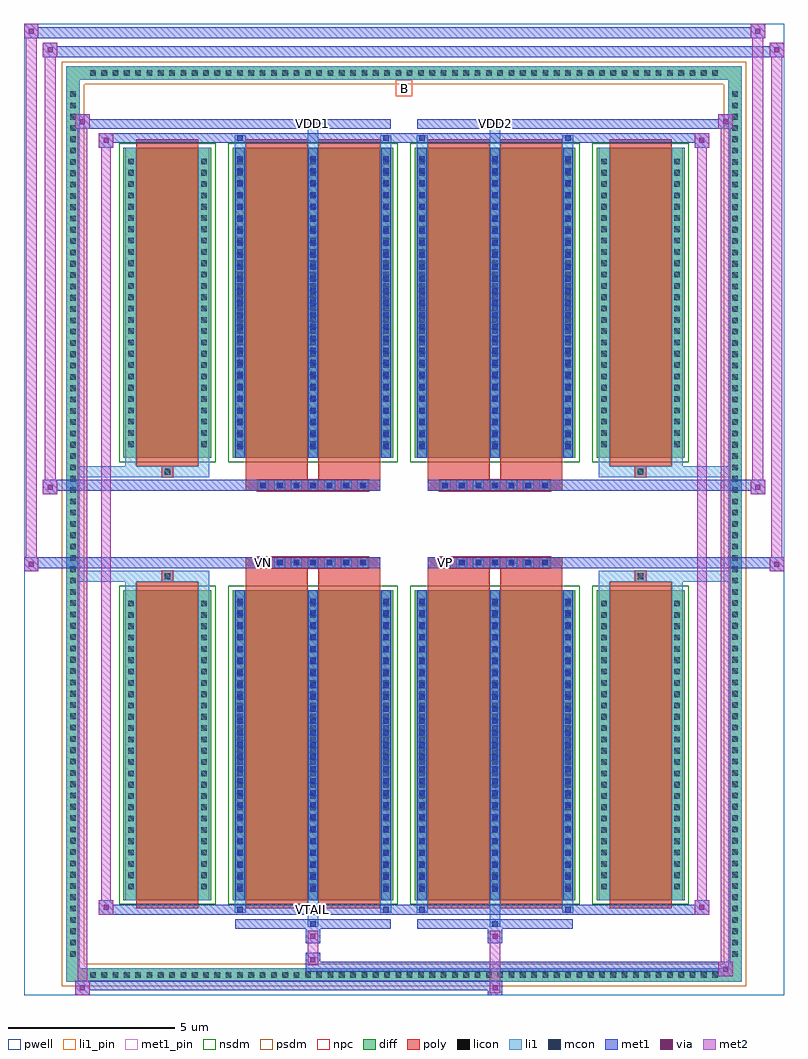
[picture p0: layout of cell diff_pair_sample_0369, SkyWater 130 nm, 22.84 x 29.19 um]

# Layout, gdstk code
import gdstk
lib = gdstk.Library(unit=1e-6, precision=5e-09)
def R(c, l, rs):  # rectangles x0, y0, x1, y1
    for r in rs: c.add(gdstk.rectangle(r[:2], r[2:], *l))
def A(c, l, x, y, w, h, nx, ny, dx, dy):  # array of equal rectangles
    R(c, l, [(x+i*dx, y+j*dy, x+i*dx+w, y+j*dy+h) for i in range(nx) for j in range(ny)])
def P(c, l, *ps):  # polygons
    for p in ps: c.add(gdstk.Polygon(p, *l))
pwell = (64, 44)
diff = (65, 20)
poly = (66, 20)
licon = (66, 44)
li1_pin = (67, 16)
li1 = (67, 20)
mcon = (67, 44)
met1_pin = (68, 16)
met1 = (68, 20)
via = (68, 44)
met2 = (69, 20)
nsdm = (93, 44)
psdm = (94, 20)
npc = (95, 20)

diff_pair_sample_0369 = lib.new_cell('diff_pair_sample_0369')
R(diff_pair_sample_0369, pwell, [(-11.42,-14.16,11.42,15.03), (-8.74,-12.35,-0.01,-0.795), (0.01,-12.35,8.74,-0.795), (-8.74,0.795,-0.01,12.35), (0.01,0.795,8.74,12.35)])
A(diff_pair_sample_0369, diff, -9.555, -13.76, 0.41, 0.41, 56, 2, 0.34, 27.11)
A(diff_pair_sample_0369, diff, -10.15, -13.125, 0.41, 0.41, 1, 77, 0, 0.34)
A(diff_pair_sample_0369, diff, 9.74, -13.125, 0.41, 0.41, 1, 77, 0, 0.34)
R(diff_pair_sample_0369, diff, [(-9.555,-13.76,9.555,-13.35), (-10.15,-13.125,-9.74,13.125), (9.74,-13.125,10.15,13.125), (-8.43,-11.305,-5.79,-1.985), (-5.15,-11.305,-0.32,-1.985), (0.32,-11.305,5.15,-1.985), (5.79,-11.305,8.43,-1.985), (-8.43,1.985,-5.79,11.305), (-5.15,1.985,-0.32,11.305), (0.32,1.985,5.15,11.305), (5.79,1.985,8.43,11.305), (-9.555,13.35,9.555,13.76)])
P(diff_pair_sample_0369, diff, [(10.15,13.76),(-10.15,13.76),(-10.15,-13.35),(-9.74,-13.35),(-9.74,13.35),(9.74,13.35),(9.74,-13.35),(-9.74,-13.35),(-10.15,-13.35),(-10.15,-13.76),(10.15,-13.76)])
A(diff_pair_sample_0369, poly, -4.4, -1.325, 0.33, 0.33, 7, 2, 0.5, 2.32)
A(diff_pair_sample_0369, poly, 1.07, -1.325, 0.33, 0.33, 7, 2, 0.5, 2.32)
R(diff_pair_sample_0369, poly, [(-8.04,-11.555,-6.18,-1.735), (-4.76,-11.555,-2.9,-1.735), (-2.57,-11.555,-0.71,-1.735), (0.71,-11.555,2.57,-1.735), (2.9,-11.555,4.76,-1.735), (6.18,-11.555,8.04,-1.735), (-7.275,-1.735,-6.945,-1.405), (-7.275,-1.735,-6.945,-1.405), (-4.76,-1.735,-2.9,-1.325), (-2.57,-1.735,-0.71,-1.325), (0.71,-1.735,2.57,-1.325), (2.9,-1.735,4.76,-1.325), (6.945,-1.735,7.275,-1.405), (6.945,-1.735,7.275,-1.405), (-4.76,-1.325,-0.71,-0.995), (0.71,-1.325,4.76,-0.995), (-4.76,0.995,-0.71,1.325), (0.71,0.995,4.76,1.325), (-4.76,1.325,-2.9,1.735), (-2.57,1.325,-0.71,1.735), (0.71,1.325,2.57,1.735), (2.9,1.325,4.76,1.735), (-7.275,1.405,-6.945,1.735), (-7.275,1.405,-6.945,1.735), (6.945,1.405,7.275,1.735), (6.945,1.405,7.275,1.735), (-8.04,1.735,-6.18,11.555), (-4.76,1.735,-2.9,11.555), (-2.57,1.735,-0.71,11.555), (0.71,1.735,2.57,11.555), (2.9,1.735,4.76,11.555), (6.18,1.735,8.04,11.555)])
A(diff_pair_sample_0369, licon, -9.435, -13.64, 0.17, 0.17, 56, 2, 0.34, 27.11)
A(diff_pair_sample_0369, licon, -10.03, -13.005, 0.17, 0.17, 1, 77, 0, 0.34)
A(diff_pair_sample_0369, licon, 9.86, -13.005, 0.17, 0.17, 1, 77, 0, 0.34)
A(diff_pair_sample_0369, licon, -8.29, -10.98, 0.17, 0.17, 1, 26, 0, 0.34)
A(diff_pair_sample_0369, licon, -6.1, -10.98, 0.17, 0.17, 1, 26, 0, 0.34)
A(diff_pair_sample_0369, licon, -5.01, -10.98, 0.17, 0.17, 3, 26, 2.19, 0.34)
A(diff_pair_sample_0369, licon, 0.46, -10.98, 0.17, 0.17, 3, 26, 2.19, 0.34)
A(diff_pair_sample_0369, licon, 5.93, -10.98, 0.17, 0.17, 1, 26, 0, 0.34)
A(diff_pair_sample_0369, licon, 8.12, -10.98, 0.17, 0.17, 1, 26, 0, 0.34)
A(diff_pair_sample_0369, licon, -4.32, -1.245, 0.17, 0.17, 7, 2, 0.5, 2.32)
A(diff_pair_sample_0369, licon, 1.15, -1.245, 0.17, 0.17, 7, 2, 0.5, 2.32)
A(diff_pair_sample_0369, licon, -8.29, 2.31, 0.17, 0.17, 1, 26, 0, 0.34)
A(diff_pair_sample_0369, licon, -6.1, 2.31, 0.17, 0.17, 1, 26, 0, 0.34)
A(diff_pair_sample_0369, licon, -5.01, 2.31, 0.17, 0.17, 3, 26, 2.19, 0.34)
A(diff_pair_sample_0369, licon, 0.46, 2.31, 0.17, 0.17, 3, 26, 2.19, 0.34)
A(diff_pair_sample_0369, licon, 5.93, 2.31, 0.17, 0.17, 1, 26, 0, 0.34)
A(diff_pair_sample_0369, licon, 8.12, 2.31, 0.17, 0.17, 1, 26, 0, 0.34)
R(diff_pair_sample_0369, licon, [(-7.195,-1.655,-7.025,-1.485), (7.025,-1.655,7.195,-1.485), (-7.195,1.485,-7.025,1.655), (7.025,1.485,7.195,1.655)])
R(diff_pair_sample_0369, li1_pin, [(-0.25,12.85,0.25,13.35)])
A(diff_pair_sample_0369, li1, -9.515, -13.72, 0.33, 0.33, 56, 2, 0.34, 27.11)
A(diff_pair_sample_0369, li1, -10.11, -13.085, 0.33, 0.33, 1, 77, 0, 0.34)
A(diff_pair_sample_0369, li1, 9.78, -13.085, 0.33, 0.33, 1, 77, 0, 0.34)
A(diff_pair_sample_0369, li1, -5.09, -11.305, 0.33, 9.32, 3, 2, 2.19, 13.29)
A(diff_pair_sample_0369, li1, 0.38, -11.305, 0.33, 9.32, 3, 2, 2.19, 13.29)
A(diff_pair_sample_0369, li1, -8.37, -11.06, 0.33, 0.33, 1, 26, 0, 0.34)
A(diff_pair_sample_0369, li1, -6.18, -11.06, 0.33, 0.33, 1, 26, 0, 0.34)
A(diff_pair_sample_0369, li1, -5.09, -11.06, 0.33, 0.33, 3, 26, 2.19, 0.34)
A(diff_pair_sample_0369, li1, 0.38, -11.06, 0.33, 0.33, 3, 26, 2.19, 0.34)
A(diff_pair_sample_0369, li1, 5.85, -11.06, 0.33, 0.33, 1, 26, 0, 0.34)
A(diff_pair_sample_0369, li1, 8.04, -11.06, 0.33, 0.33, 1, 26, 0, 0.34)
A(diff_pair_sample_0369, li1, -5.01, -11.05, 0.17, 0.17, 3, 25, 2.19, 0.36)
A(diff_pair_sample_0369, li1, -5.01, -11.05, 0.17, 8.81, 3, 2, 2.19, 13.29)
A(diff_pair_sample_0369, li1, 0.46, -11.05, 0.17, 0.17, 3, 25, 2.19, 0.36)
A(diff_pair_sample_0369, li1, 0.46, -11.05, 0.17, 8.81, 3, 2, 2.19, 13.29)
A(diff_pair_sample_0369, li1, -4.4, -1.325, 0.33, 0.33, 7, 2, 0.5, 2.32)
A(diff_pair_sample_0369, li1, 1.07, -1.325, 0.33, 0.33, 7, 2, 0.5, 2.32)
A(diff_pair_sample_0369, li1, -8.37, 2.23, 0.33, 0.33, 1, 26, 0, 0.34)
A(diff_pair_sample_0369, li1, -6.18, 2.23, 0.33, 0.33, 1, 26, 0, 0.34)
A(diff_pair_sample_0369, li1, -5.09, 2.23, 0.33, 0.33, 3, 26, 2.19, 0.34)
A(diff_pair_sample_0369, li1, 0.38, 2.23, 0.33, 0.33, 3, 26, 2.19, 0.34)
A(diff_pair_sample_0369, li1, 5.85, 2.23, 0.33, 0.33, 1, 26, 0, 0.34)
A(diff_pair_sample_0369, li1, 8.04, 2.23, 0.33, 0.33, 1, 26, 0, 0.34)
A(diff_pair_sample_0369, li1, -5.01, 2.24, 0.17, 0.17, 3, 25, 2.19, 0.36)
A(diff_pair_sample_0369, li1, 0.46, 2.24, 0.17, 0.17, 3, 25, 2.19, 0.36)
R(diff_pair_sample_0369, li1, [(-10.15,-13.76,-9.74,-13.35), (-10.15,-13.76,-9.74,-13.35), (-9.74,-13.76,9.74,-13.35), (9.74,-13.76,10.15,-13.35), (9.74,-13.76,10.15,-13.35), (-10.15,-13.35,-9.74,13.35), (9.74,-13.35,10.15,13.35), (-2.9,-12.11,-2.57,-11.305), (-2.82,-12.11,-2.65,-11.94), (2.57,-12.11,2.9,-11.305), (2.65,-12.11,2.82,-11.94), (-5.09,-11.68,-4.76,-11.305), (-5.01,-11.68,-4.84,-11.51), (-0.71,-11.68,-0.38,-11.305), (-0.63,-11.68,-0.46,-11.51), (0.38,-11.68,0.71,-11.305), (0.46,-11.68,0.63,-11.51), (4.76,-11.68,5.09,-11.305), (4.84,-11.68,5.01,-11.51), (-8.37,-11.305,-8.04,-1.985), (-6.18,-11.305,-5.85,-1.985), (5.85,-11.305,6.18,-1.985), (8.04,-11.305,8.37,-1.985), (-8.37,-1.985,-8.04,-1.405), (-6.18,-1.985,-5.85,-1.405), (5.85,-1.985,6.18,-1.405), (8.04,-1.985,8.37,-1.405), (-10.15,-1.735,-7.275,-1.405), (-8.37,-1.735,-7.275,-1.405), (-7.275,-1.735,-6.945,-1.405), (-6.945,-1.735,-5.85,-1.405), (5.85,-1.735,6.945,-1.405), (6.945,-1.735,7.275,-1.405), (6.945,-1.735,10.15,-1.405), (7.275,-1.735,8.37,-1.405), (-10.15,1.405,-7.275,1.735), (-8.37,1.405,-7.275,1.735), (-8.37,1.405,-8.04,1.985), (-7.275,1.405,-6.945,1.735), (-6.945,1.405,-5.85,1.735), (-6.18,1.405,-5.85,1.985), (5.85,1.405,6.945,1.735), (5.85,1.405,6.18,1.985), (6.945,1.405,7.275,1.735), (6.945,1.405,10.15,1.735), (7.275,1.405,8.37,1.735), (8.04,1.405,8.37,1.985), (-8.37,1.985,-8.04,11.305), (-6.18,1.985,-5.85,11.305), (5.85,1.985,6.18,11.305), (8.04,1.985,8.37,11.305), (-5.09,11.305,-4.76,11.68), (-2.9,11.305,-2.57,12.11), (-0.71,11.305,-0.38,11.68), (0.38,11.305,0.71,11.68), (2.57,11.305,2.9,12.11), (4.76,11.305,5.09,11.68), (-5.01,11.51,-4.84,11.68), (-0.63,11.51,-0.46,11.68), (0.46,11.51,0.63,11.68), (4.84,11.51,5.01,11.68), (-2.82,11.94,-2.65,12.11), (2.65,11.94,2.82,12.11), (-10.15,13.35,-9.74,13.76), (-10.15,13.35,-9.74,13.76), (-9.74,13.35,9.74,13.76), (9.74,13.35,10.15,13.76), (9.74,13.35,10.15,13.76)])
A(diff_pair_sample_0369, mcon, -5.01, -11.05, 0.17, 0.17, 3, 25, 2.19, 0.36)
A(diff_pair_sample_0369, mcon, 0.46, -11.05, 0.17, 0.17, 3, 25, 2.19, 0.36)
A(diff_pair_sample_0369, mcon, -4.32, -1.245, 0.17, 0.17, 7, 2, 0.5, 2.32)
A(diff_pair_sample_0369, mcon, 1.15, -1.245, 0.17, 0.17, 7, 2, 0.5, 2.32)
A(diff_pair_sample_0369, mcon, -5.01, 2.24, 0.17, 0.17, 3, 25, 2.19, 0.36)
A(diff_pair_sample_0369, mcon, 0.46, 2.24, 0.17, 0.17, 3, 25, 2.19, 0.36)
R(diff_pair_sample_0369, mcon, [(-2.82,-12.11,-2.65,-11.94), (2.65,-12.11,2.82,-11.94), (-5.01,-11.68,-4.84,-11.51), (-0.63,-11.68,-0.46,-11.51), (0.46,-11.68,0.63,-11.51), (4.84,-11.68,5.01,-11.51), (-5.01,11.51,-4.84,11.68), (-0.63,11.51,-0.46,11.68), (0.46,11.51,0.63,11.68), (4.84,11.51,5.01,11.68), (-2.82,11.94,-2.65,12.11), (2.65,11.94,2.82,12.11)])
R(diff_pair_sample_0369, met1_pin, [(-2.87,-11.72,-2.6,-11.45), (-4.37,-1.285,-4.1,-1.015), (1.1,-1.285,1.37,-1.015), (-2.87,11.9,-2.6,12.17), (2.6,11.9,2.87,12.17)])
A(diff_pair_sample_0369, met1, -5.07, -11.305, 0.29, 9.32, 3, 2, 2.19, 13.29)
A(diff_pair_sample_0369, met1, 0.4, -11.305, 0.29, 9.32, 3, 2, 2.19, 13.29)
A(diff_pair_sample_0369, met1, -5.07, -11.11, 0.29, 0.29, 3, 25, 2.19, 0.36)
A(diff_pair_sample_0369, met1, 0.4, -11.11, 0.29, 0.29, 3, 25, 2.19, 0.36)
A(diff_pair_sample_0369, met1, -4.38, -1.305, 0.29, 0.29, 7, 2, 0.5, 2.32)
A(diff_pair_sample_0369, met1, 1.09, -1.305, 0.29, 0.29, 7, 2, 0.5, 2.32)
A(diff_pair_sample_0369, met1, -5.07, 2.18, 0.29, 0.29, 3, 25, 2.19, 0.36)
A(diff_pair_sample_0369, met1, 0.4, 2.18, 0.29, 0.29, 3, 25, 2.19, 0.36)
R(diff_pair_sample_0369, met1, [(-9.88,-14.16,-9.45,-13.73), (2.52,-14.16,2.95,-13.73), (-9.88,-14.02,2.95,-13.73), (9.45,-13.59,9.88,-13.16), (-2.95,-13.45,9.88,-13.16), (-2.95,-13.31,-2.52,-12.88), (-2.95,-12.6,-2.52,-12.17), (2.52,-12.6,2.95,-12.17), (-5.07,-12.17,-0.4,-11.88), (-2.88,-12.17,-2.59,-11.88), (0.4,-12.17,5.07,-11.88), (2.59,-12.17,2.88,-11.88), (-9.17,-11.74,-8.74,-11.31), (-9.17,-11.74,-5.07,-11.45), (-5.07,-11.74,-4.78,-11.45), (-5.07,-11.74,-0.4,-11.45), (-0.69,-11.74,-0.4,-11.45), (-0.4,-11.74,0.4,-11.45), (0.4,-11.74,0.69,-11.45), (0.4,-11.74,5.07,-11.45), (4.78,-11.74,5.07,-11.45), (5.07,-11.74,9.17,-11.45), (8.74,-11.74,9.17,-11.31), (-11.42,-1.425,-10.99,-0.995), (10.99,-1.425,11.42,-0.995), (-11.42,-1.325,-0.71,-0.995), (-4.76,-1.325,-0.71,-0.995), (0.71,-1.325,4.76,-0.995), (0.71,-1.325,11.42,-0.995), (-10.85,0.895,-10.42,1.325), (10.42,0.895,10.85,1.325), (-10.85,0.995,-4.76,1.325), (-4.76,0.995,-0.71,1.325), (0.71,0.995,4.76,1.325), (4.76,0.995,10.85,1.325), (-9.17,11.31,-8.74,11.74), (8.74,11.31,9.17,11.74), (-9.17,11.45,-5.07,11.74), (-5.07,11.45,-4.78,11.74), (-5.07,11.45,-0.4,11.74), (-0.69,11.45,-0.4,11.74), (-0.4,11.45,0.4,11.74), (0.4,11.45,0.69,11.74), (0.4,11.45,5.07,11.74), (4.78,11.45,5.07,11.74), (5.07,11.45,9.17,11.74), (-9.88,11.88,-9.45,12.31), (-9.88,11.88,-5.07,12.17), (-5.07,11.88,-0.4,12.17), (-2.88,11.88,-2.59,12.17), (0.4,11.88,5.07,12.17), (2.59,11.88,2.88,12.17), (5.07,11.88,9.88,12.17), (9.45,11.88,9.88,12.31), (-10.85,14.03,-10.42,14.46), (-10.85,14.03,-8.74,14.36), (-8.74,14.03,8.74,14.36), (8.74,14.03,11.42,14.36), (10.99,14.03,11.42,14.46), (-11.42,14.6,-10.99,15.03), (-11.42,14.6,-8.74,14.93), (-8.74,14.6,8.74,14.93), (8.74,14.6,10.85,14.93), (10.42,14.6,10.85,15.03)])
R(diff_pair_sample_0369, via, [(-9.74,-14.02,-9.59,-13.87), (2.66,-14.02,2.81,-13.87), (9.59,-13.45,9.74,-13.3), (-2.81,-13.17,-2.66,-13.02), (-2.81,-12.46,-2.66,-12.31), (2.66,-12.46,2.81,-12.31), (-9.03,-11.6,-8.88,-11.45), (8.88,-11.6,9.03,-11.45), (-11.28,-1.285,-11.13,-1.135), (11.13,-1.285,11.28,-1.135), (-10.71,1.035,-10.56,1.185), (10.56,1.035,10.71,1.185), (-9.03,11.45,-8.88,11.6), (8.88,11.45,9.03,11.6), (-9.74,12.02,-9.59,12.17), (9.59,12.02,9.74,12.17), (-10.71,14.17,-10.56,14.32), (11.13,14.17,11.28,14.32), (-11.28,14.74,-11.13,14.89), (10.56,14.74,10.71,14.89)])
R(diff_pair_sample_0369, met2, [(-9.88,-14.16,-9.45,-13.73), (-9.81,-14.16,-9.52,12.31), (-9.52,-14.16,-9.45,-13.73), (-9.83,-14.11,-9.5,-13.78), (2.57,-14.11,2.9,-13.78), (2.57,-13.78,2.9,-12.55), (9.45,-13.59,9.88,-13.16), (9.52,-13.59,9.81,12.31), (9.81,-13.59,9.88,-13.16), (9.5,-13.54,9.83,-13.21), (-2.9,-13.26,-2.57,-12.93), (-2.9,-12.93,-2.57,-12.55), (-2.9,-12.55,-2.57,-12.22), (2.57,-12.55,2.9,-12.22), (-9.17,-11.74,-8.74,-11.31), (-9.1,-11.74,-8.81,11.74), (-8.81,-11.74,-8.74,-11.31), (8.74,-11.74,9.17,-11.31), (8.81,-11.74,9.1,11.74), (9.1,-11.74,9.17,-11.31), (-9.12,-11.69,-8.79,-11.36), (8.79,-11.69,9.12,-11.36), (-11.42,-1.425,-10.99,-0.995), (-11.37,-1.425,-11.04,15.03), (-11.04,-1.425,-10.99,-0.995), (10.99,-1.425,11.42,-0.995), (11.04,-1.425,11.37,14.46), (11.37,-1.425,11.42,-0.995), (-11.37,-1.375,-11.04,-1.045), (11.04,-1.375,11.37,-1.045), (-10.85,0.895,-10.42,1.325), (-10.8,0.895,-10.47,14.46), (-10.47,0.895,-10.42,1.325), (10.42,0.895,10.85,1.325), (10.47,0.895,10.8,15.03), (10.8,0.895,10.85,1.325), (-10.8,0.945,-10.47,1.275), (10.47,0.945,10.8,1.275), (-9.17,11.31,-8.74,11.74), (-8.81,11.31,-8.74,11.74), (8.74,11.31,9.17,11.74), (9.1,11.31,9.17,11.74), (-9.12,11.36,-8.79,11.69), (8.79,11.36,9.12,11.69), (-9.88,11.88,-9.45,12.31), (-9.52,11.88,-9.45,12.31), (9.45,11.88,9.88,12.31), (9.81,11.88,9.88,12.31), (-9.83,11.93,-9.5,12.26), (9.5,11.93,9.83,12.26), (-10.85,14.03,-10.42,14.46), (-10.47,14.03,-10.42,14.46), (10.99,14.03,11.42,14.46), (11.37,14.03,11.42,14.46), (-10.8,14.08,-10.47,14.41), (11.04,14.08,11.37,14.41), (-11.42,14.6,-10.99,15.03), (-11.04,14.6,-10.99,15.03), (10.42,14.6,10.85,15.03), (10.8,14.6,10.85,15.03), (-11.37,14.65,-11.04,14.98), (10.47,14.65,10.8,14.98)])
R(diff_pair_sample_0369, nsdm, [(-8.56,-11.435,-5.66,-1.855), (-5.28,-11.435,-0.19,-1.855), (0.19,-11.435,5.28,-1.855), (5.66,-11.435,8.56,-1.855), (-8.56,1.855,-5.66,11.435), (-5.28,1.855,-0.19,11.435), (0.19,1.855,5.28,11.435), (5.66,1.855,8.56,11.435)])
P(diff_pair_sample_0369, psdm, [(10.28,13.89),(-10.28,13.89),(-10.28,-13.22),(-9.61,-13.22),(-9.61,13.22),(9.61,13.22),(9.61,-13.22),(-9.61,-13.22),(-10.28,-13.22),(-10.28,-13.89),(10.28,-13.89)])
A(diff_pair_sample_0369, npc, -4.42, -1.345, 0.37, 0.37, 7, 2, 0.5, 2.32)
A(diff_pair_sample_0369, npc, 1.05, -1.345, 0.37, 0.37, 7, 2, 0.5, 2.32)
R(diff_pair_sample_0369, npc, [(-7.295,-1.755,-6.925,-1.385), (6.925,-1.755,7.295,-1.385), (-4.42,-1.345,-3.55,-0.975), (-4.42,-1.345,-3.55,-0.975), (-3.92,-1.345,-3.05,-0.975), (-3.92,-1.345,-3.05,-0.975), (-3.42,-1.345,-2.55,-0.975), (-3.42,-1.345,-2.55,-0.975), (-2.92,-1.345,-2.05,-0.975), (-2.92,-1.345,-2.05,-0.975), (-2.42,-1.345,-1.55,-0.975), (-2.42,-1.345,-1.55,-0.975), (-1.92,-1.345,-1.05,-0.975), (-1.92,-1.345,-1.05,-0.975), (1.05,-1.345,1.92,-0.975), (1.05,-1.345,1.92,-0.975), (1.55,-1.345,2.42,-0.975), (1.55,-1.345,2.42,-0.975), (2.05,-1.345,2.92,-0.975), (2.05,-1.345,2.92,-0.975), (2.55,-1.345,3.42,-0.975), (2.55,-1.345,3.42,-0.975), (3.05,-1.345,3.92,-0.975), (3.05,-1.345,3.92,-0.975), (3.55,-1.345,4.42,-0.975), (3.55,-1.345,4.42,-0.975), (-4.42,0.975,-3.55,1.345), (-4.42,0.975,-3.55,1.345), (-3.92,0.975,-3.05,1.345), (-3.92,0.975,-3.05,1.345), (-3.42,0.975,-2.55,1.345), (-3.42,0.975,-2.55,1.345), (-2.92,0.975,-2.05,1.345), (-2.92,0.975,-2.05,1.345), (-2.42,0.975,-1.55,1.345), (-2.42,0.975,-1.55,1.345), (-1.92,0.975,-1.05,1.345), (-1.92,0.975,-1.05,1.345), (1.05,0.975,1.92,1.345), (1.05,0.975,1.92,1.345), (1.55,0.975,2.42,1.345), (1.55,0.975,2.42,1.345), (2.05,0.975,2.92,1.345), (2.05,0.975,2.92,1.345), (2.55,0.975,3.42,1.345), (2.55,0.975,3.42,1.345), (3.05,0.975,3.92,1.345), (3.05,0.975,3.92,1.345), (3.55,0.975,4.42,1.345), (3.55,0.975,4.42,1.345), (-7.295,1.385,-6.925,1.755), (6.925,1.385,7.295,1.755)])
diff_pair_sample_0369.add(gdstk.Label('VTAIL', (-2.735,-11.585), layer=68, texttype=5))
diff_pair_sample_0369.add(gdstk.Label('VN', (-4.235,-1.15), layer=68, texttype=5))
diff_pair_sample_0369.add(gdstk.Label('VP', (1.235,-1.15), layer=68, texttype=5))
diff_pair_sample_0369.add(gdstk.Label('B', (0,13.1), layer=67, texttype=5))
diff_pair_sample_0369.add(gdstk.Label('VDD2', (2.735,12.035), layer=68, texttype=5))
diff_pair_sample_0369.add(gdstk.Label('VDD1', (-2.735,12.035), layer=68, texttype=5))

lib.write_gds('diff_pair_sample_0369.gds')
